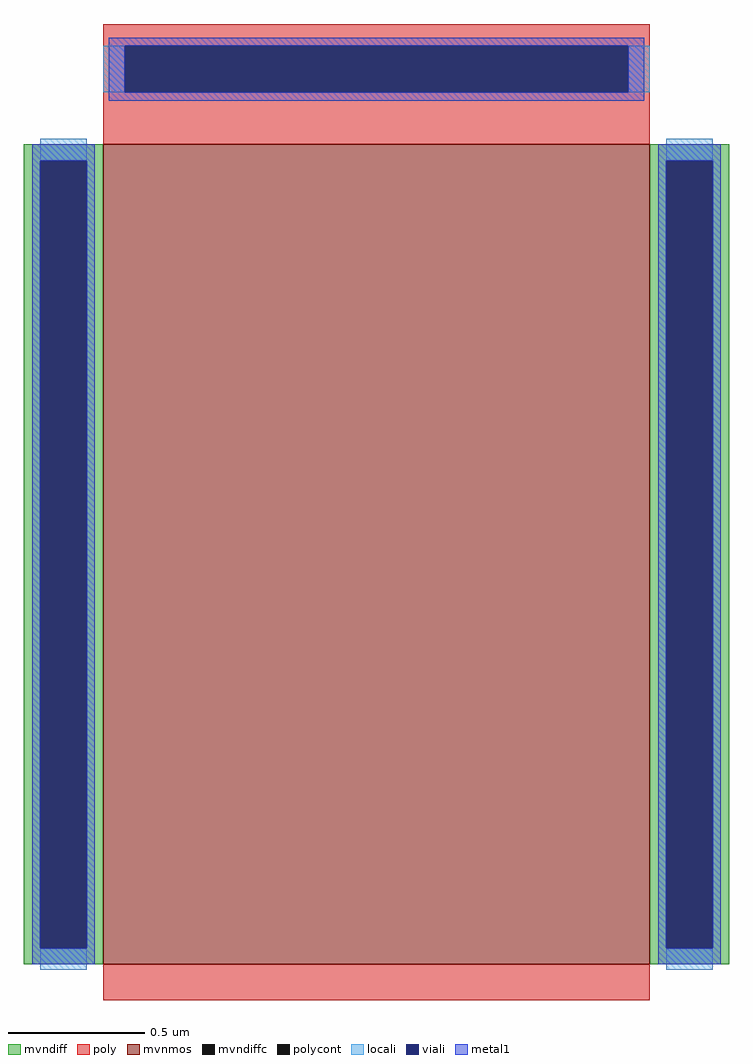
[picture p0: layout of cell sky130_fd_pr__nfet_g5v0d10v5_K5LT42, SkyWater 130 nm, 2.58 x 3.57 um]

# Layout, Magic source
magic
tech sky130A
magscale 1 2
<< mvnmos >>
rect -200 -331 200 269
<< mvndiff >>
rect -258 257 -200 269
rect -258 -319 -246 257
rect -212 -319 -200 257
rect -258 -331 -200 -319
rect 200 257 258 269
rect 200 -319 212 257
rect 246 -319 258 257
rect 200 -331 258 -319
<< mvndiffc >>
rect -246 -319 -212 257
rect 212 -319 246 257
<< poly >>
rect -200 341 200 357
rect -200 307 -184 341
rect 184 307 200 341
rect -200 269 200 307
rect -200 -357 200 -331
<< polycont >>
rect -184 307 184 341
<< locali >>
rect -200 307 -184 341
rect 184 307 200 341
rect -246 257 -212 273
rect -246 -335 -212 -319
rect 212 257 246 273
rect 212 -335 246 -319
<< viali >>
rect -184 307 184 341
rect -246 -319 -212 257
rect 212 -319 246 257
<< metal1 >>
rect -196 341 196 347
rect -196 307 -184 341
rect 184 307 196 341
rect -196 301 196 307
rect -252 257 -206 269
rect -252 -319 -246 257
rect -212 -319 -206 257
rect -252 -331 -206 -319
rect 206 257 252 269
rect 206 -319 212 257
rect 246 -319 252 257
rect 206 -331 252 -319
<< properties >>
string gencell sky130_fd_pr__nfet_g5v0d10v5
string library sky130
string parameters w 3 l 2 m 1 nf 1 diffcov 100 polycov 100 guard 0 glc 1 grc 1 gtc 1 gbc 1 tbcov 100 rlcov 100 topc 1 botc 0 poverlap 0 doverlap 0 lmin 0.50 wmin 0.42 compatible {sky130_fd_pr__nfet_01v8 sky130_fd_pr__nfet_01v8_lvt  sky130_fd_bs_flash__special_sonosfet_star  sky130_fd_pr__nfet_g5v0d10v5 sky130_fd_pr__nfet_05v0_nvt  sky130_fd_pr__nfet_03v3_nvt} full_metal 1 viasrc 100 viadrn 100 viagate 100 viagb 0 viagr 0 viagl 0 viagt 0
<< end >>
